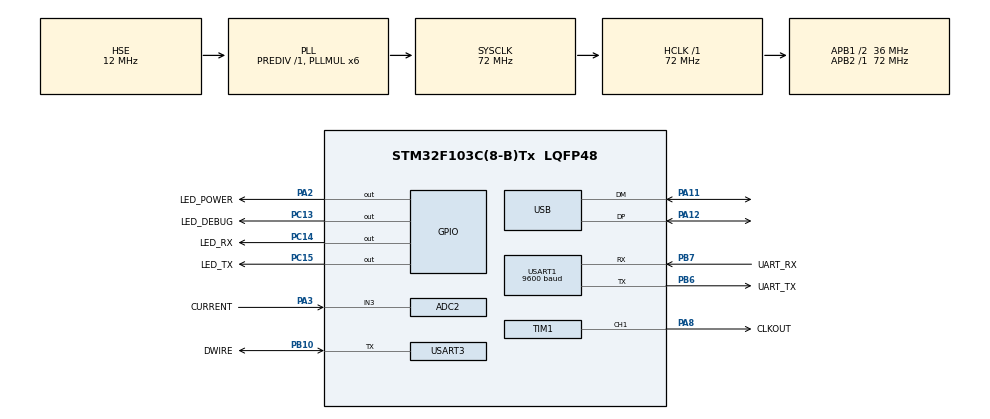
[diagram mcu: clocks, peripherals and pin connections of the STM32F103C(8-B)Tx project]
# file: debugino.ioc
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ADC1.Channel-0\#ChannelRegularConversion=ADC_CHANNEL_VREFINT
ADC1.ContinuousConvMode=ENABLE
ADC1.Mode=ADC_DUALMODE_REGSIMULT
ADC1.NbrOfConversionFlag=1
ADC1.Rank-0\#ChannelRegularConversion=1
ADC1.SamplingTime-0\#ChannelRegularConversion=ADC_SAMPLETIME_13CYCLES_5
ADC1.master=1
ADC2.Channel-0\#ChannelRegularConversion=ADC_CHANNEL_3
ADC2.ContinuousConvMode=ENABLE
ADC2.Mode=ADC_DUALMODE_REGSIMULT
ADC2.NbrOfConversionFlag=1
ADC2.Rank-0\#ChannelRegularConversion=1
ADC2.SamplingTime-0\#ChannelRegularConversion=ADC_SAMPLETIME_13CYCLES_5
Dma.ADC1.4.Direction=DMA_PERIPH_TO_MEMORY
Dma.ADC1.4.Instance=DMA1_Channel1
Dma.ADC1.4.MemDataAlignment=DMA_MDATAALIGN_WORD
Dma.ADC1.4.MemInc=DMA_MINC_ENABLE
Dma.ADC1.4.Mode=DMA_CIRCULAR
Dma.ADC1.4.PeriphDataAlignment=DMA_PDATAALIGN_WORD
Dma.ADC1.4.PeriphInc=DMA_PINC_DISABLE
Dma.ADC1.4.Priority=DMA_PRIORITY_LOW
Dma.Request0=USART1_RX
Dma.Request1=USART1_TX
Dma.Request2=USART3_RX
Dma.Request3=USART3_TX
Dma.Request4=ADC1
Dma.USART1_RX.0.Direction=DMA_PERIPH_TO_MEMORY
Dma.USART1_RX.0.Instance=DMA1_Channel5
Dma.USART1_RX.0.MemDataAlignment=DMA_MDATAALIGN_BYTE
Dma.USART1_RX.0.MemInc=DMA_MINC_ENABLE
Dma.USART1_RX.0.Mode=DMA_CIRCULAR
Dma.USART1_RX.0.PeriphDataAlignment=DMA_PDATAALIGN_BYTE
Dma.USART1_RX.0.PeriphInc=DMA_PINC_DISABLE
Dma.USART1_RX.0.Priority=DMA_PRIORITY_LOW
Dma.USART1_TX.1.Direction=DMA_MEMORY_TO_PERIPH
Dma.USART1_TX.1.Instance=DMA1_Channel4
Dma.USART1_TX.1.MemDataAlignment=DMA_MDATAALIGN_BYTE
Dma.USART1_TX.1.MemInc=DMA_MINC_ENABLE
Dma.USART1_TX.1.Mode=DMA_NORMAL
Dma.USART1_TX.1.PeriphDataAlignment=DMA_PDATAALIGN_BYTE
Dma.USART1_TX.1.PeriphInc=DMA_PINC_DISABLE
Dma.USART1_TX.1.Priority=DMA_PRIORITY_LOW
Dma.USART3_RX.2.Direction=DMA_PERIPH_TO_MEMORY
Dma.USART3_RX.2.Instance=DMA1_Channel3
Dma.USART3_RX.2.MemDataAlignment=DMA_MDATAALIGN_BYTE
Dma.USART3_RX.2.MemInc=DMA_MINC_ENABLE
Dma.USART3_RX.2.Mode=DMA_CIRCULAR
Dma.USART3_RX.2.PeriphDataAlignment=DMA_PDATAALIGN_BYTE
Dma.USART3_RX.2.PeriphInc=DMA_PINC_DISABLE
Dma.USART3_RX.2.Priority=DMA_PRIORITY_LOW
Dma.USART3_TX.3.Direction=DMA_MEMORY_TO_PERIPH
Dma.USART3_TX.3.Instance=DMA1_Channel2
Dma.USART3_TX.3.MemDataAlignment=DMA_MDATAALIGN_BYTE
Dma.USART3_TX.3.MemInc=DMA_MINC_ENABLE
Dma.USART3_TX.3.Mode=DMA_NORMAL
Dma.USART3_TX.3.PeriphDataAlignment=DMA_PDATAALIGN_BYTE
Dma.USART3_TX.3.PeriphInc=DMA_PINC_DISABLE
Dma.USART3_TX.3.Priority=DMA_PRIORITY_LOW
FREERTOS.BinarySemaphores01=txSemaphore1,Static,txSemaphore1ControlBlock;txSemaphore2,Static,txSemaphore2ControlBlock;breakRxSemaphore,Static,breakRxSemaphoreControlBlock;breakTxSemaphore,Static,breakTxSemaphoreControlBlock
FREERTOS.Queues01=queueUARTtoUSB,128,uint8_t,0,Static,queueUARTtoUSBBuffer,queueUARTtoUSBControlBlock;queueUSBtoUART,128,uint8_t,0,Static,queueUSBtoUARTBuffer,queueUSBtoUARTControlBlock;queueDWIREtoDEBUG,128,uint8_t,0,Static,queueDWIREtoDEBUGBuffer,queueDWIREtoDEBUGControlBlock;queueDEBUGtoDWIRE,128,uint8_t,0,Static,queueDEBUGtoDWIREBuffer,queueDEBUGtoDWIREControlBlock;queueDEBUGtoUSB,128,uint8_t,0,Static,queueDEBUGtoUSBBuffer,queueDEBUGtoUSBControlBlock;queueUSBtoDEBUG,128,uint8_t,0,Static,queueUSBtoDEBUGBuffer,queueUSBtoDEBUGControlBlock
FREERTOS.Tasks01=debugger,24,256,StartDebugger,Default,NULL,Dynamic,NULL,NULL;uartSender1,40,128,StartUartSender1,Default,NULL,Static,uartSender1Buffer,uartSender1ControlBlock;uartSender2,40,128,StartUartSender2,Default,NULL,Static,uartSender2Buffer,uartSender2ControlBlock
FREERTOS.Timers01=LEDTimer,LEDTimerCallback,osTimerPeriodic,Default,NULL,Static,pwrLEDTimerControlBlock
FREERTOS.configUSE_CO_ROUTINES=0
Mcu.Family=STM32F1
Mcu.Name=STM32F103C(8-B)Tx
Mcu.Package=LQFP48
NVIC.DMA1_Channel1_IRQn=true\:0\:0\:false\:false\:true\:true\:false\:true
NVIC.DMA1_Channel2_IRQn=true\:6\:0\:true\:false\:true\:true\:false\:true
NVIC.DMA1_Channel3_IRQn=true\:6\:0\:true\:false\:true\:true\:false\:true
NVIC.DMA1_Channel4_IRQn=true\:6\:0\:true\:false\:true\:true\:false\:true
NVIC.DMA1_Channel5_IRQn=true\:6\:0\:true\:false\:true\:true\:false\:true
NVIC.PriorityGroup=NVIC_PRIORITYGROUP_4
NVIC.TIM4_IRQn=true\:0\:0\:false\:false\:true\:false\:false\:true
NVIC.TimeBase=TIM4_IRQn
NVIC.TimeBaseIP=TIM4
NVIC.USART1_IRQn=true\:6\:0\:true\:false\:true\:false\:true\:true
NVIC.USART3_IRQn=true\:6\:0\:true\:false\:true\:false\:true\:true
NVIC.USB_LP_CAN1_RX0_IRQn=true\:6\:0\:true\:false\:true\:false\:false\:true
PA11.Mode=Device
PA11.Signal=USB_DM
PA12.Mode=Device
PA12.Signal=USB_DP
PA13.Mode=Serial_Wire
PA13.Signal=SYS_JTMS-SWDIO
PA14.Mode=Serial_Wire
PA14.Signal=SYS_JTCK-SWCLK
PA2.GPIO_Label=LED_POWER
PA2.PinState=GPIO_PIN_SET
PA2.Signal=GPIO_Output
PA3.GPIO_Label=CURRENT
PA3.Signal=ADCx_IN3
PA8.GPIO_Label=CLKOUT
PA8.GPIO_Speed=GPIO_SPEED_FREQ_LOW
PA8.Signal=S_TIM1_CH1
PB10.GPIO_Label=DWIRE
PB10.Mode=Half_duplex(single_wire_mode)
PB10.Signal=USART3_TX
PB6.GPIO_Label=UART_TX
PB6.Mode=Asynchronous
PB6.Signal=USART1_TX
PB7.GPIO_Label=UART_RX
PB7.Mode=Asynchronous
PB7.Signal=USART1_RX
PC13-TAMPER-RTC.GPIO_Label=LED_DEBUG
PC13-TAMPER-RTC.Signal=GPIO_Output
PC14-OSC32_IN.GPIO_Label=LED_RX
PC14-OSC32_IN.Signal=GPIO_Output
PC15-OSC32_OUT.GPIO_Label=LED_TX
PC15-OSC32_OUT.Signal=GPIO_Output
PD0-OSC_IN.Mode=HSE-External-Oscillator
PD0-OSC_IN.Signal=RCC_OSC_IN
PD1-OSC_OUT.Mode=HSE-External-Oscillator
PD1-OSC_OUT.Signal=RCC_OSC_OUT
ProjectManager.HeapSize=0x200
ProjectManager.StackSize=0x400
ProjectManager.TargetToolchain=Makefile
RCC.ADCPresc=RCC_ADCPCLK2_DIV6
RCC.AHBFreq_Value=72000000
RCC.APB1CLKDivider=RCC_HCLK_DIV2
RCC.APB1Freq_Value=36000000
RCC.APB1TimFreq_Value=72000000
RCC.APB2Freq_Value=72000000
RCC.APB2TimFreq_Value=72000000
RCC.HCLKFreq_Value=72000000
RCC.HSE_VALUE=12000000
RCC.PLLMUL=RCC_PLL_MUL6
RCC.SYSCLKFreq_VALUE=72000000
RCC.SYSCLKSource=RCC_SYSCLKSOURCE_PLLCLK
RCC.USBFreq_Value=48000000
RCC.USBPrescaler=RCC_USBCLKSOURCE_PLL_DIV1_5
SH.ADCx_IN3.0=ADC1_IN3
SH.ADCx_IN3.1=ADC2_IN3,IN3
SH.S_TIM1_CH1.0=TIM1_CH1,Output Compare1 CH1
TIM1.Channel-Output\ Compare1\ CH1=TIM_CHANNEL_1
TIM1.OCIdleState_1=TIM_OCIDLESTATE_SET
TIM1.OCMode_1=TIM_OCMODE_TOGGLE
TIM1.Period=1
TIM1.Prescaler=0
USART1.BaudRate=9600
USART1.VirtualMode=VM_ASYNC
USART3.BaudRate=140625
USART3.VirtualMode=VM_ASYNC
USB_DEVICE.APP_RX_DATA_SIZE=64
USB_DEVICE.APP_TX_DATA_SIZE=64
USB_DEVICE.CLASS_NAME_FS=CDC
USB_DEVICE.MANUFACTURER_STRING=University of Wroclaw
USB_DEVICE.PRODUCT_STRING_CDC_FS=Debugino
USB_DEVICE.USBD_MAX_NUM_INTERFACES=4
USB_DEVICE.USBD_SELF_POWERED=0
USB_DEVICE.VirtualMode=Cdc
USB_DEVICE.VirtualModeFS=Cdc_FS
VP_ADC1_Vref_Input.Mode=IN-Vrefint
VP_FREERTOS_VS_CMSIS_V2.Mode=CMSIS_V2
VP_SYS_VS_tim4.Mode=TIM4
VP_USB_DEVICE_VS_USB_DEVICE_CDC_FS.Mode=CDC_FS
board=custom

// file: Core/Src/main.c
/* USER CODE BEGIN Header */
/**
  ******************************************************************************
  * @file           : main.c
  * @brief          : Main program body
  ******************************************************************************
  * @attention
  *
  * <h2><center>&copy; Copyright (c) 2020 STMicroelectronics.
  * All rights reserved.</center></h2>
  *
  * This software component is licensed by ST under Ultimate Liberty license
  * SLA0044, the "License"; You may not use this file except in compliance with
  * the License. You may obtain a copy of the License at:
  *                             www.st.com/SLA0044
  *
  ******************************************************************************
  */
/* USER CODE END Header */
#include "main.h"
#include "cmsis_os.h"
#include "adc.h"
#include "dma.h"
#include "tim.h"
#include "usart.h"
#include "usb_device.h"
#include "gpio.h"

/* USER CODE BEGIN Includes */
#include "uart_helper.h"
/* USER CODE END Includes */

/* USER CODE BEGIN PV */
UARTHelper_HandleTypeDef huarth1;
UARTHelper_HandleTypeDef huarth3;
/* USER CODE END PV */

void SystemClock_Config(void);
void MX_FREERTOS_Init(void);

int main(void)
{

  /* MCU Configuration--------------------------------------------------------*/

  /* Reset of all peripherals, Initializes the Flash interface and the Systick. */
  HAL_Init();

  /* Configure the system clock */
  SystemClock_Config();

  /* Initialize all configured peripherals */
  MX_GPIO_Init();
  MX_DMA_Init();
  MX_USART1_UART_Init();
  MX_TIM1_Init();
  MX_USART3_UART_Init();
  MX_ADC1_Init();
  MX_ADC2_Init();
  /* USER CODE BEGIN 2 */
  HAL_TIM_OC_Start(&htim1, TIM_CHANNEL_1);
  /* USER CODE END 2 */

  /* Init scheduler */
  osKernelInitialize();  /* Call init function for freertos objects (in freertos.c) */
  MX_FREERTOS_Init();
  /* Start scheduler */
  osKernelStart();

  /* We should never get here as control is now taken by the scheduler */
  /* Infinite loop */
  while (1)
  {

  }
}

void SystemClock_Config(void)
{
  RCC_OscInitTypeDef RCC_OscInitStruct = {0};
  RCC_ClkInitTypeDef RCC_ClkInitStruct = {0};
  RCC_PeriphCLKInitTypeDef PeriphClkInit = {0};

  /** Initializes the RCC Oscillators according to the specified parameters
  * in the RCC_OscInitTypeDef structure.
  */
  RCC_OscInitStruct.OscillatorType = RCC_OSCILLATORTYPE_HSE;
  RCC_OscInitStruct.HSEState = RCC_HSE_ON;
  RCC_OscInitStruct.HSEPredivValue = RCC_HSE_PREDIV_DIV1;
  RCC_OscInitStruct.HSIState = RCC_HSI_ON;
  RCC_OscInitStruct.PLL.PLLState = RCC_PLL_ON;
  RCC_OscInitStruct.PLL.PLLSource = RCC_PLLSOURCE_HSE;
  RCC_OscInitStruct.PLL.PLLMUL = RCC_PLL_MUL6;
  if (HAL_RCC_OscConfig(&RCC_OscInitStruct) != HAL_OK)
  {
    Error_Handler();
  }
  /** Initializes the CPU, AHB and APB buses clocks
  */
  RCC_ClkInitStruct.ClockType = RCC_CLOCKTYPE_HCLK|RCC_CLOCKTYPE_SYSCLK
                              |RCC_CLOCKTYPE_PCLK1|RCC_CLOCKTYPE_PCLK2;
  RCC_ClkInitStruct.SYSCLKSource = RCC_SYSCLKSOURCE_PLLCLK;
  RCC_ClkInitStruct.AHBCLKDivider = RCC_SYSCLK_DIV1;
  RCC_ClkInitStruct.APB1CLKDivider = RCC_HCLK_DIV2;
  RCC_ClkInitStruct.APB2CLKDivider = RCC_HCLK_DIV1;

  if (HAL_RCC_ClockConfig(&RCC_ClkInitStruct, FLASH_LATENCY_2) != HAL_OK)
  {
    Error_Handler();
  }
  PeriphClkInit.PeriphClockSelection = RCC_PERIPHCLK_ADC|RCC_PERIPHCLK_USB;
  PeriphClkInit.AdcClockSelection = RCC_ADCPCLK2_DIV6;
  PeriphClkInit.UsbClockSelection = RCC_USBCLKSOURCE_PLL_DIV1_5;
  if (HAL_RCCEx_PeriphCLKConfig(&PeriphClkInit) != HAL_OK)
  {
    Error_Handler();
  }
}

void HAL_TIM_PeriodElapsedCallback(TIM_HandleTypeDef *htim)
{
  if (htim->Instance == TIM4) {
    HAL_IncTick();
  }
}

void Error_Handler(void)
{
}

/************************ (C) COPYRIGHT STMicroelectronics *****END OF FILE****/

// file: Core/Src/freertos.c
/* USER CODE BEGIN Header */
/**
  ******************************************************************************
  * File Name          : freertos.c
  * Description        : Code for freertos applications
  ******************************************************************************
  * @attention
  *
  * <h2><center>&copy; Copyright (c) 2020 STMicroelectronics.
  * All rights reserved.</center></h2>
  *
  * This software component is licensed by ST under Ultimate Liberty license
  * SLA0044, the "License"; You may not use this file except in compliance with
  * the License. You may obtain a copy of the License at:
  *                             www.st.com/SLA0044
  *
  ******************************************************************************
  */
/* USER CODE END Header */

#include "FreeRTOS.h"
#include "task.h"
#include "main.h"
#include "cmsis_os.h"

/* USER CODE BEGIN Includes */
#include "usart.h"
#include "uart_helper.h"
#include "debugino.h"
#include "timers.h"
/* USER CODE END Includes */

typedef StaticTask_t osStaticThreadDef_t;
typedef StaticQueue_t osStaticMessageQDef_t;
typedef StaticTimer_t osStaticTimerDef_t;
typedef StaticSemaphore_t osStaticSemaphoreDef_t;

/* USER CODE BEGIN PD */
#define UART_TX_BUFFER_SIZE 16
/* USER CODE END PD */

/* USER CODE BEGIN Variables */
static uint32_t txLEDTick;
static uint32_t rxLEDTick;
static uint32_t debugLEDTick;

/* USER CODE END Variables */
/* Definitions for debugger */
osThreadId_t debuggerHandle;
const osThreadAttr_t debugger_attributes = {
  .name = "debugger",
  .priority = (osPriority_t) osPriorityNormal,
  .stack_size = 256 * 4
};
/* Definitions for uartSender1 */
osThreadId_t uartSender1Handle;
uint32_t uartSender1Buffer[ 128 ];
osStaticThreadDef_t uartSender1ControlBlock;
const osThreadAttr_t uartSender1_attributes = {
  .name = "uartSender1",
  .stack_mem = &uartSender1Buffer[0],
  .stack_size = sizeof(uartSender1Buffer),
  .cb_mem = &uartSender1ControlBlock,
  .cb_size = sizeof(uartSender1ControlBlock),
  .priority = (osPriority_t) osPriorityHigh,
};
/* Definitions for uartSender2 */
osThreadId_t uartSender2Handle;
uint32_t uartSender2Buffer[ 128 ];
osStaticThreadDef_t uartSender2ControlBlock;
const osThreadAttr_t uartSender2_attributes = {
  .name = "uartSender2",
  .stack_mem = &uartSender2Buffer[0],
  .stack_size = sizeof(uartSender2Buffer),
  .cb_mem = &uartSender2ControlBlock,
  .cb_size = sizeof(uartSender2ControlBlock),
  .priority = (osPriority_t) osPriorityHigh,
};
/* Definitions for queueUARTtoUSB */
osMessageQueueId_t queueUARTtoUSBHandle;
uint8_t queueUARTtoUSBBuffer[ 128 * sizeof( uint8_t ) ];
osStaticMessageQDef_t queueUARTtoUSBControlBlock;
const osMessageQueueAttr_t queueUARTtoUSB_attributes = {
  .name = "queueUARTtoUSB",
  .cb_mem = &queueUARTtoUSBControlBlock,
  .cb_size = sizeof(queueUARTtoUSBControlBlock),
  .mq_mem = &queueUARTtoUSBBuffer,
  .mq_size = sizeof(queueUARTtoUSBBuffer)
};
/* Definitions for queueUSBtoUART */
osMessageQueueId_t queueUSBtoUARTHandle;
uint8_t queueUSBtoUARTBuffer[ 128 * sizeof( uint8_t ) ];
osStaticMessageQDef_t queueUSBtoUARTControlBlock;
const osMessageQueueAttr_t queueUSBtoUART_attributes = {
  .name = "queueUSBtoUART",
  .cb_mem = &queueUSBtoUARTControlBlock,
  .cb_size = sizeof(queueUSBtoUARTControlBlock),
  .mq_mem = &queueUSBtoUARTBuffer,
  .mq_size = sizeof(queueUSBtoUARTBuffer)
};
/* Definitions for queueDWIREtoDEBUG */
osMessageQueueId_t queueDWIREtoDEBUGHandle;
uint8_t queueDWIREtoDEBUGBuffer[ 128 * sizeof( uint8_t ) ];
osStaticMessageQDef_t queueDWIREtoDEBUGControlBlock;
const osMessageQueueAttr_t queueDWIREtoDEBUG_attributes = {
  .name = "queueDWIREtoDEBUG",
  .cb_mem = &queueDWIREtoDEBUGControlBlock,
  .cb_size = sizeof(queueDWIREtoDEBUGControlBlock),
  .mq_mem = &queueDWIREtoDEBUGBuffer,
  .mq_size = sizeof(queueDWIREtoDEBUGBuffer)
};
/* Definitions for queueDEBUGtoDWIRE */
osMessageQueueId_t queueDEBUGtoDWIREHandle;
uint8_t queueDEBUGtoDWIREBuffer[ 128 * sizeof( uint8_t ) ];
osStaticMessageQDef_t queueDEBUGtoDWIREControlBlock;
const osMessageQueueAttr_t queueDEBUGtoDWIRE_attributes = {
  .name = "queueDEBUGtoDWIRE",
  .cb_mem = &queueDEBUGtoDWIREControlBlock,
  .cb_size = sizeof(queueDEBUGtoDWIREControlBlock),
  .mq_mem = &queueDEBUGtoDWIREBuffer,
  .mq_size = sizeof(queueDEBUGtoDWIREBuffer)
};
/* Definitions for queueDEBUGtoUSB */
osMessageQueueId_t queueDEBUGtoUSBHandle;
uint8_t queueDEBUGtoUSBBuffer[ 128 * sizeof( uint8_t ) ];
osStaticMessageQDef_t queueDEBUGtoUSBControlBlock;
const osMessageQueueAttr_t queueDEBUGtoUSB_attributes = {
  .name = "queueDEBUGtoUSB",
  .cb_mem = &queueDEBUGtoUSBControlBlock,
  .cb_size = sizeof(queueDEBUGtoUSBControlBlock),
  .mq_mem = &queueDEBUGtoUSBBuffer,
  .mq_size = sizeof(queueDEBUGtoUSBBuffer)
};
/* Definitions for queueUSBtoDEBUG */
osMessageQueueId_t queueUSBtoDEBUGHandle;
uint8_t queueUSBtoDEBUGBuffer[ 128 * sizeof( uint8_t ) ];
osStaticMessageQDef_t queueUSBtoDEBUGControlBlock;
const osMessageQueueAttr_t queueUSBtoDEBUG_attributes = {
  .name = "queueUSBtoDEBUG",
  .cb_mem = &queueUSBtoDEBUGControlBlock,
  .cb_size = sizeof(queueUSBtoDEBUGControlBlock),
  .mq_mem = &queueUSBtoDEBUGBuffer,
  .mq_size = sizeof(queueUSBtoDEBUGBuffer)
};
/* Definitions for LEDTimer */
osTimerId_t LEDTimerHandle;
osStaticTimerDef_t pwrLEDTimerControlBlock;
const osTimerAttr_t LEDTimer_attributes = {
  .name = "LEDTimer",
  .cb_mem = &pwrLEDTimerControlBlock,
  .cb_size = sizeof(pwrLEDTimerControlBlock),
};
/* Definitions for txSemaphore1 */
osSemaphoreId_t txSemaphore1Handle;
osStaticSemaphoreDef_t txSemaphore1ControlBlock;
const osSemaphoreAttr_t txSemaphore1_attributes = {
  .name = "txSemaphore1",
  .cb_mem = &txSemaphore1ControlBlock,
  .cb_size = sizeof(txSemaphore1ControlBlock),
};
/* Definitions for txSemaphore2 */
osSemaphoreId_t txSemaphore2Handle;
osStaticSemaphoreDef_t txSemaphore2ControlBlock;
const osSemaphoreAttr_t txSemaphore2_attributes = {
  .name = "txSemaphore2",
  .cb_mem = &txSemaphore2ControlBlock,
  .cb_size = sizeof(txSemaphore2ControlBlock),
};
/* Definitions for breakRxSemaphore */
osSemaphoreId_t breakRxSemaphoreHandle;
osStaticSemaphoreDef_t breakRxSemaphoreControlBlock;
const osSemaphoreAttr_t breakRxSemaphore_attributes = {
  .name = "breakRxSemaphore",
  .cb_mem = &breakRxSemaphoreControlBlock,
  .cb_size = sizeof(breakRxSemaphoreControlBlock),
};
/* Definitions for breakTxSemaphore */
osSemaphoreId_t breakTxSemaphoreHandle;
osStaticSemaphoreDef_t breakTxSemaphoreControlBlock;
const osSemaphoreAttr_t breakTxSemaphore_attributes = {
  .name = "breakTxSemaphore",
  .cb_mem = &breakTxSemaphoreControlBlock,
  .cb_size = sizeof(breakTxSemaphoreControlBlock),
};

void StartDebugger(void *argument);
void StartUartSender1(void *argument);
void StartUartSender2(void *argument);
void LEDTimerCallback(void *argument);

extern void MX_USB_DEVICE_Init(void);
void MX_FREERTOS_Init(void); /* (MISRA C 2004 rule 8.1) */

void MX_FREERTOS_Init(void) {

  /* Create the semaphores(s) */
  /* creation of txSemaphore1 */
  txSemaphore1Handle = osSemaphoreNew(1, 1, &txSemaphore1_attributes);

  /* creation of txSemaphore2 */
  txSemaphore2Handle = osSemaphoreNew(1, 1, &txSemaphore2_attributes);

  /* creation of breakRxSemaphore */
  breakRxSemaphoreHandle = osSemaphoreNew(1, 1, &breakRxSemaphore_attributes);

  /* creation of breakTxSemaphore */
  breakTxSemaphoreHandle = osSemaphoreNew(1, 1, &breakTxSemaphore_attributes);

  /* Create the timer(s) */
  /* creation of LEDTimer */
  LEDTimerHandle = osTimerNew(LEDTimerCallback, osTimerPeriodic, NULL, &LEDTimer_attributes);

  /* USER CODE BEGIN RTOS_TIMERS */
  /* start timers, add new ones, ... */
  osTimerStart(LEDTimerHandle, 20u * osKernelGetTickFreq() / 1000u);
  /* USER CODE END RTOS_TIMERS */

  /* Create the queue(s) */
  /* creation of queueUARTtoUSB */
  queueUARTtoUSBHandle = osMessageQueueNew (128, sizeof(uint8_t), &queueUARTtoUSB_attributes);

  /* creation of queueUSBtoUART */
  queueUSBtoUARTHandle = osMessageQueueNew (128, sizeof(uint8_t), &queueUSBtoUART_attributes);

  /* creation of queueDWIREtoDEBUG */
  queueDWIREtoDEBUGHandle = osMessageQueueNew (128, sizeof(uint8_t), &queueDWIREtoDEBUG_attributes);

  /* creation of queueDEBUGtoDWIRE */
  queueDEBUGtoDWIREHandle = osMessageQueueNew (128, sizeof(uint8_t), &queueDEBUGtoDWIRE_attributes);

  /* creation of queueDEBUGtoUSB */
  queueDEBUGtoUSBHandle = osMessageQueueNew (128, sizeof(uint8_t), &queueDEBUGtoUSB_attributes);

  /* creation of queueUSBtoDEBUG */
  queueUSBtoDEBUGHandle = osMessageQueueNew (128, sizeof(uint8_t), &queueUSBtoDEBUG_attributes);

  /* USER CODE BEGIN RTOS_QUEUES */
  /* add queues, ... */
  UARTHelper_Init(&huarth1, &huart1, queueUSBtoUARTHandle, queueUARTtoUSBHandle, txSemaphore1Handle, NULL, NULL);
  UARTHelper_Init(&huarth3, &huart3, queueDEBUGtoDWIREHandle, queueDWIREtoDEBUGHandle, txSemaphore2Handle, breakTxSemaphoreHandle, breakRxSemaphoreHandle);
  /* USER CODE END RTOS_QUEUES */

  /* Create the thread(s) */
  /* creation of debugger */
  debuggerHandle = osThreadNew(StartDebugger, NULL, &debugger_attributes);

  /* creation of uartSender1 */
  uartSender1Handle = osThreadNew(StartUartSender1, NULL, &uartSender1_attributes);

  /* creation of uartSender2 */
  uartSender2Handle = osThreadNew(StartUartSender2, NULL, &uartSender2_attributes);

}

void StartDebugger(void *argument)
{
  /* init code for USB_DEVICE */
  MX_USB_DEVICE_Init();
  /* USER CODE BEGIN StartDebugger */
  /* Infinite loop */
  DebugInit(&huarth3);
  for(;;)
  {
    DebugLoop();
  }
  /* USER CODE END StartDebugger */
}

void StartUartSender1(void *argument)
{
  /* USER CODE BEGIN StartUartSender1 */
  /* Infinite loop */
  for(;;)
  {
    UARTHelper_TX(&huarth1);
  }
  /* USER CODE END StartUartSender1 */
}

void StartUartSender2(void *argument)
{
  /* USER CODE BEGIN StartUartSender2 */
  /* Infinite loop */
  for(;;)
  {
    UARTHelper_TX(&huarth3);
  }
  /* USER CODE END StartUartSender2 */
}

/* LEDTimerCallback function */
void LEDTimerCallback(void *argument)
{
  /* USER CODE BEGIN LEDTimerCallback */
  uint32_t ticks = osKernelGetTickCount();
  const uint32_t timeout = 200u * osKernelGetTickFreq() / 1000u;
  if (ticks - rxLEDTick > timeout)
    HAL_GPIO_WritePin(LED_RX_GPIO_Port, LED_RX_Pin, GPIO_PIN_RESET);
  if (ticks - txLEDTick > timeout)
    HAL_GPIO_WritePin(LED_TX_GPIO_Port, LED_TX_Pin, GPIO_PIN_RESET);
  if (ticks - debugLEDTick > timeout)
    HAL_GPIO_WritePin(LED_DEBUG_GPIO_Port, LED_DEBUG_Pin, GPIO_PIN_RESET);
  if (DebugIsStopped() && ticks % osKernelGetTickFreq() > timeout)
    HAL_GPIO_WritePin(LED_POWER_GPIO_Port, LED_POWER_Pin, GPIO_PIN_RESET);
  else
    HAL_GPIO_WritePin(LED_POWER_GPIO_Port, LED_POWER_Pin, GPIO_PIN_SET);
  /* USER CODE END LEDTimerCallback */
}

/* USER CODE BEGIN Application */
void FlashLED(uint16_t led)
{
  switch (led)
  {
    case LED_RX_Pin: rxLEDTick = osKernelGetTickCount(); break;
    case LED_TX_Pin: txLEDTick = osKernelGetTickCount(); break;
    case LED_DEBUG_Pin: debugLEDTick = osKernelGetTickCount(); break;
    default: return;
  }
  HAL_GPIO_WritePin(LED_DEBUG_GPIO_Port, led, GPIO_PIN_SET);
}
/* USER CODE END Application */

/************************ (C) COPYRIGHT STMicroelectronics *****END OF FILE****/
